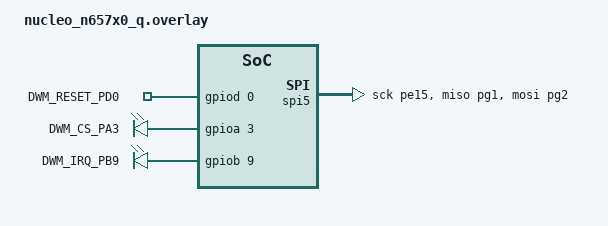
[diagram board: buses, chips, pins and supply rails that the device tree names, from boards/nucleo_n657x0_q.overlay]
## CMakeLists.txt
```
cmake_minimum_required(VERSION 3.20.0)

find_package(Zephyr REQUIRED HINTS $ENV{ZEPHYR_BASE})
project(thinpod_gateway_nucleo_spi5_dummy_probe)

target_sources(app PRIVATE src/main.c)
```

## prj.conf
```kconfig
CONFIG_GPIO=y
CONFIG_SPI=y
CONFIG_PRINTK=y
CONFIG_CONSOLE=y
CONFIG_UART_CONSOLE=y
CONFIG_SERIAL=y
```

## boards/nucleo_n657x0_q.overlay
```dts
/*
 * Thin-Pod Gateway rev 0.1
 * NUCLEO-N657X0-Q SPI5 dummy-transfer probe.
 *
 * Purpose:
 * - prove SPI5 SCK/MOSI activity at the DWM3001-CDK header
 * - prove PA3 manual CS activity at the DWM3001-CDK header
 * - sample MISO and print received bytes
 * - keep DW3110 register access out of scope
 */

/ {
aliases {
dwm-reset = &dwm_reset;
dwm-cs = &dwm_cs;
dwm-irq = &dwm_irq;
};

thinpod_gateway_probe_gpios {
compatible = "gpio-leds";

dwm_reset: dwm_reset {
gpios = <&gpiod 0 GPIO_ACTIVE_HIGH>;
label = "DWM_RESET_PD0";
};

dwm_cs: dwm_cs {
gpios = <&gpioa 3 GPIO_ACTIVE_HIGH>;
label = "DWM_CS_PA3";
};

dwm_irq: dwm_irq {
gpios = <&gpiob 9 GPIO_ACTIVE_HIGH>;
label = "DWM_IRQ_PB9";
};
};
};

&pinctrl {
spi5_sck_pe15: spi5_sck_pe15 {
pinmux = <STM32_PINMUX('E', 15, AF5)>;
};

spi5_miso_pg1: spi5_miso_pg1 {
pinmux = <STM32_PINMUX('G', 1, AF5)>;
};

spi5_mosi_pg2: spi5_mosi_pg2 {
pinmux = <STM32_PINMUX('G', 2, AF5)>;
};
};

&spi5 {
status = "okay";
pinctrl-0 = <&spi5_sck_pe15 &spi5_miso_pg1 &spi5_mosi_pg2>;
pinctrl-names = "default";
};

/*
 * PD0 is used by the Gateway as DWM_RESET.
 * Disable FDCAN1 so it cannot claim PD0.
 */
&fdcan1 {
status = "disabled";
};

&gpioa {
status = "okay";
};

&gpiob {
status = "okay";
};

&gpiod {
status = "okay";
};

&gpioe {
status = "okay";
};

&gpiog {
status = "okay";
};
```

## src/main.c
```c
#include <errno.h>
#include <stdint.h>
#include <string.h>

#include <zephyr/device.h>
#include <zephyr/drivers/gpio.h>
#include <zephyr/drivers/spi.h>
#include <zephyr/kernel.h>
#include <zephyr/sys/printk.h>

#define SPI5_FREQUENCY_HZ 1000000U
#define SPI_PROBE_BYTES 64U
#define PROBE_SLEEP_MS 1000
#define RESET_LOW_MS 10
#define RESET_SETTLE_MS 100
#define CS_SETUP_US 10
#define CS_HOLD_US 10

static const struct device *const spi5_dev = DEVICE_DT_GET(DT_NODELABEL(spi5));

static const struct gpio_dt_spec dwm_reset =
GPIO_DT_SPEC_GET(DT_ALIAS(dwm_reset), gpios);

static const struct gpio_dt_spec dwm_cs =
GPIO_DT_SPEC_GET(DT_ALIAS(dwm_cs), gpios);

static const struct gpio_dt_spec dwm_irq =
GPIO_DT_SPEC_GET(DT_ALIAS(dwm_irq), gpios);

static int check_gpio_ready(const struct gpio_dt_spec *spec, const char *name)
{
if (!device_is_ready(spec->port)) {
printk("ERROR: %s GPIO device not ready\n", name);
return -ENODEV;
}

printk("%s ready: controller=%s pin=%u\n",
       name, spec->port->name, spec->pin);

return 0;
}

static void dwm_reset_pulse(void)
{
printk("Applying DWM reset pulse on PD0\n");

gpio_pin_set_raw(dwm_reset.port, dwm_reset.pin, 0);
k_msleep(RESET_LOW_MS);

gpio_pin_set_raw(dwm_reset.port, dwm_reset.pin, 1);
k_msleep(RESET_SETTLE_MS);

printk("DWM reset released\n");
}

int main(void)
{
int ret;
int irq_level;
uint32_t probe = 0U;
uint32_t i;

static const uint8_t pattern[4] = { 0xAA, 0x55, 0x00, 0xFF };
static uint8_t tx_buf[SPI_PROBE_BYTES];
static uint8_t rx_buf[SPI_PROBE_BYTES];

for (i = 0U; i < SPI_PROBE_BYTES; i++) {
tx_buf[i] = pattern[i % sizeof(pattern)];
}

const struct spi_buf tx_spi_buf = {
.buf = tx_buf,
.len = sizeof(tx_buf),
};

struct spi_buf rx_spi_buf = {
.buf = rx_buf,
.len = sizeof(rx_buf),
};

const struct spi_buf_set tx_set = {
.buffers = &tx_spi_buf,
.count = 1,
};

const struct spi_buf_set rx_set = {
.buffers = &rx_spi_buf,
.count = 1,
};

const struct spi_config spi_cfg = {
.frequency = SPI5_FREQUENCY_HZ,
.operation = SPI_OP_MODE_MASTER |
     SPI_WORD_SET(8) |
     SPI_TRANSFER_MSB,
.slave = 0,
};

printk("\nThin-Pod Gateway rev0.1 NUCLEO SPI5 stretched dummy-transfer probe\n");
printk("Board: nucleo_n657x0_q\n");
printk("Purpose: SPI5 electrical/path confirmation only\n");
printk("Pattern: repeated 0xAA 0x55 0x00 0xFF\n");
printk("Transfer length: %u bytes\n", SPI_PROBE_BYTES);
printk("No DW3110 register access. No UWB RF.\n\n");

if (!device_is_ready(spi5_dev)) {
printk("ERROR: SPI5 device not ready\n");
return 0;
}

printk("SPI5 ready: device=%s frequency=%u Hz\n",
       spi5_dev->name, SPI5_FREQUENCY_HZ);

if (check_gpio_ready(&dwm_reset, "DWM_RESET / PD0") != 0) {
return 0;
}

if (check_gpio_ready(&dwm_cs, "DWM_CS / PA3") != 0) {
return 0;
}

if (check_gpio_ready(&dwm_irq, "DWM_IRQ / PB9") != 0) {
return 0;
}

if (gpio_pin_configure_dt(&dwm_reset, GPIO_OUTPUT_HIGH) != 0) {
printk("ERROR: failed to configure DWM_RESET / PD0\n");
return 0;
}

if (gpio_pin_configure_dt(&dwm_cs, GPIO_OUTPUT_HIGH) != 0) {
printk("ERROR: failed to configure DWM_CS / PA3\n");
return 0;
}

if (gpio_pin_configure_dt(&dwm_irq, GPIO_INPUT) != 0) {
printk("ERROR: failed to configure DWM_IRQ / PB9\n");
return 0;
}

printk("GPIO configuration complete\n");
printk("Manual CS is idle high and driven low during SPI transfer\n\n");

dwm_reset_pulse();

while (1) {
memset(rx_buf, 0, sizeof(rx_buf));

irq_level = gpio_pin_get_raw(dwm_irq.port, dwm_irq.pin);

gpio_pin_set_raw(dwm_cs.port, dwm_cs.pin, 0);
k_usleep(CS_SETUP_US);

ret = spi_transceive(spi5_dev, &spi_cfg, &tx_set, &rx_set);

k_usleep(CS_HOLD_US);
gpio_pin_set_raw(dwm_cs.port, dwm_cs.pin, 1);

printk("spi_probe=%u ret=%d irq=%d len=%u "
       "tx_start=%02x %02x %02x %02x "
       "rx_start=%02x %02x %02x %02x\n",
       probe,
       ret,
       irq_level,
       SPI_PROBE_BYTES,
       tx_buf[0], tx_buf[1], tx_buf[2], tx_buf[3],
       rx_buf[0], rx_buf[1], rx_buf[2], rx_buf[3]);

probe++;
k_msleep(PROBE_SLEEP_MS);
}

return 0;
}
```
